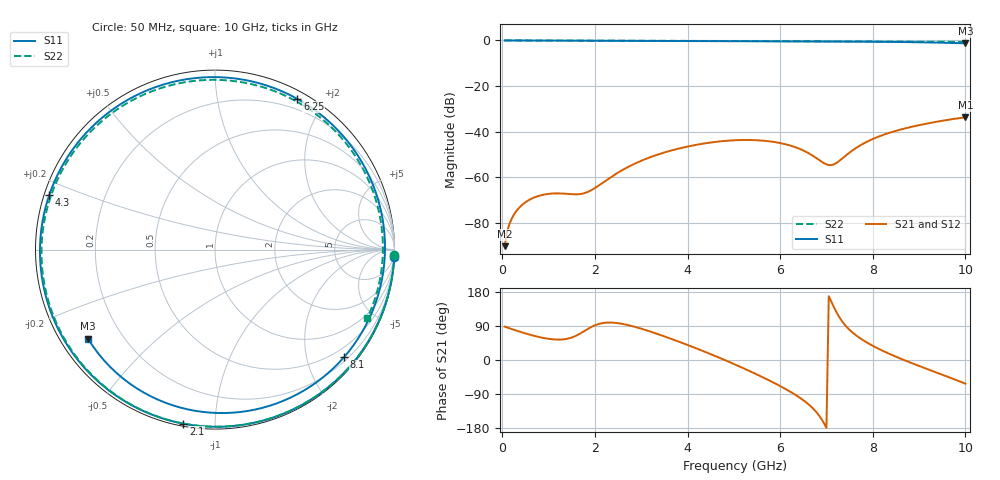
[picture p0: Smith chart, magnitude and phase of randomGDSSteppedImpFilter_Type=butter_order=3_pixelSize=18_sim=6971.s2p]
! freq	dB(S11)	phase(S11)	dB(S12)	phase(S12)
!  dB(S21)	phase(S21)	dB(S22)	phase(S22)
!S-par simulation data
#  GHz  S  DB  R 50
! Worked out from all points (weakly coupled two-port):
!   200 points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, 50 MHz to 10 GHz, reference 50 ohm
!   highest |S21| = -33.70 dB at 10 GHz (marker M1); lowest = -90.2 dB at 50 MHz (marker M2)
!   lowest |S11| = -1.3 dB at 10 GHz (marker M3), VSWR 13.75, Z = 4 - j15.7 ohm
!   |S11| at or under -10 dB: nowhere
!   |S22| runs from -0.6 to 0.0 dB; largest |S21 - S12| = 0
!   S11 on the Smith chart (normalised r, x): 50 MHz: 0, -45; 2.1 GHz: 0.01, -0.83; 4.3 GHz: 0.01, +0.16; 6.25 GHz: 0.08, +1.68; 8.1 GHz: 0.28, -2.73; 10 GHz: 0.08, -0.31
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0.05  -0.00 -2.5  -90.18 88.1  -90.18 88.1  -0.00 -1.7
0.15  -0.01 -7.5  -80.69 83.9  -80.69 83.9  -0.01 -5.0
0.4  -0.03 -19.9  -72.60 73.9  -72.60 73.9  -0.02 -13.1
0.7  -0.04 -34.6  -68.75 63.4  -68.75 63.4  -0.03 -22.9
1.25  -0.07 -61.1  -67.06 53.9  -67.06 53.9  -0.05 -40.7
1.75  -0.10 -84.4  -67.07 74.8  -67.07 74.8  -0.07 -56.7
2.1  -0.12 -100.3  -63.35 95.6  -63.35 95.6  -0.09 -67.8
2.7  -0.15 -126.9  -55.63 92.5  -55.63 92.5  -0.11 -86.6
3.4  -0.19 -157.7  -49.74 66.6  -49.74 66.6  -0.14 -108.6
4.3  -0.24 161.7  -45.35 25.4  -45.35 25.4  -0.20 -137.3
5.05  -0.30 125.3  -43.72 -13.2  -43.72 -13.2  -0.25 -162.6
5.65  -0.34 94.1  -43.96 -47.1  -43.96 -47.1  -0.30 175.6
6.25  -0.38 61.3  -46.27 -85.9  -46.27 -85.9  -0.36 151.9
6.7  -0.41 36.1  -50.47 -126.7  -50.47 -126.7  -0.41 132.5
7.15  -0.45 11.1  -54.40 142.2  -54.40 142.2  -0.45 111.8
7.6  -0.50 -13.4  -47.67 68.7  -47.67 68.7  -0.48 89.9
8.1  -0.58 -39.8  -42.35 31.1  -42.35 31.1  -0.51 64.7
8.35  -0.62 -52.8  -40.55 16.7  -40.55 16.7  -0.53 52.0
8.8  -0.74 -75.9  -38.05 -6.2  -38.05 -6.2  -0.55 29.5
9.2  -0.87 -96.9  -36.31 -25.0  -36.31 -25.0  -0.56 10.4
9.6  -1.04 -119.4  -34.87 -43.4  -34.87 -43.4  -0.59 -7.6
10  -1.27 -144.9  -33.70 -62.4  -33.70 -62.4  -0.62 -24.2
